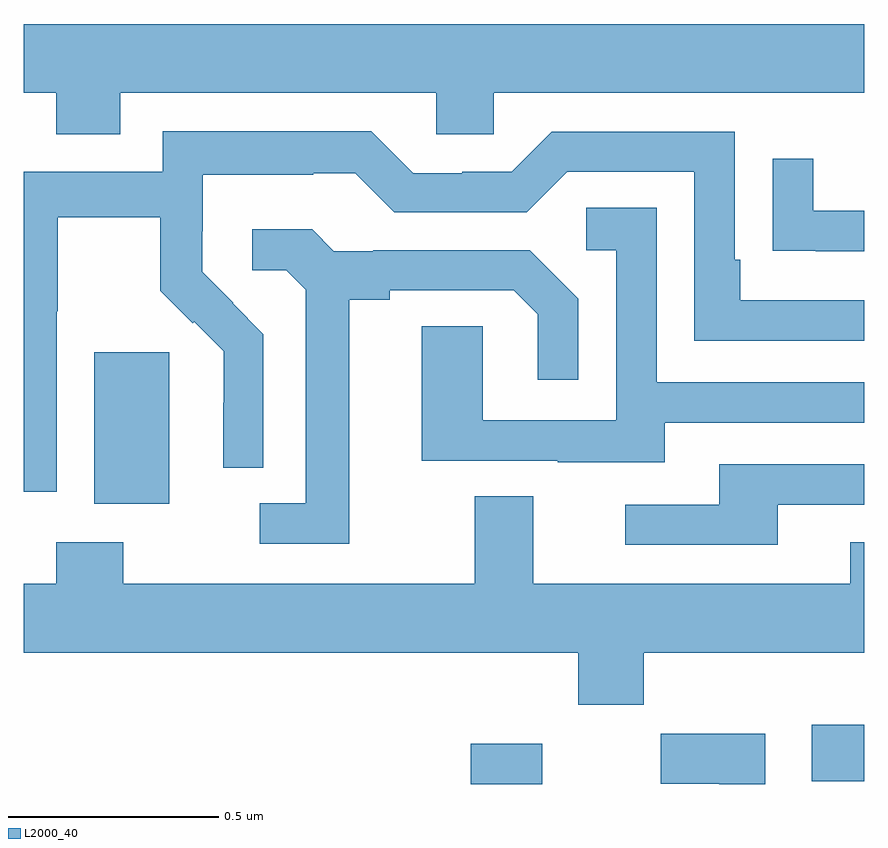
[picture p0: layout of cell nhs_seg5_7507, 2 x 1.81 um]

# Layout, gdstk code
import gdstk
lib = gdstk.Library(unit=1e-6, precision=1e-09)
def R(c, l, rs):  # rectangles x0, y0, x1, y1
    for r in rs: c.add(gdstk.rectangle(r[:2], r[2:], *l))
def P(c, l, *ps):  # polygons
    for p in ps: c.add(gdstk.Polygon(p, *l))
L2000_40 = (2000, 40)

nhs_seg5_7507 = lib.new_cell('nhs_seg5_7507')
R(nhs_seg5_7507, L2000_40, [(211.064,837.799,211.234,837.895), (211.875,837.806,212,837.94), (210.167,838.466,210.346,838.827)])
P(nhs_seg5_7507, L2000_40, [(210.229,839.444),(210.981,839.444),(210.981,839.346),(211.119,839.346),(211.119,839.444),(212,839.444),(212,839.608),(210,839.608),(210,839.444),(210.077,839.444),(210.077,839.345),(210.229,839.345)],
  [(210.078,838.924),(210.081,838.924),(210.081,839.148),(210.325,839.148),(210.325,838.973),(210.402,838.896),(210.405,838.899),(210.476,838.829),(210.476,838.706),(210.474,838.706),(210.474,838.552),(210.57,838.552),(210.57,838.87),(210.497,838.943),(210.498,838.944),(210.424,839.018),(210.424,839.115),(210.426,839.115),(210.426,839.249),(210.689,839.249),(210.689,839.253),(210.789,839.253),(210.882,839.16),(211.197,839.16),(211.293,839.256),(211.596,839.256),(211.596,838.854),(212,838.854),(212,838.95),(211.705,838.95),(211.705,839.047),(211.692,839.047),(211.692,839.352),(211.257,839.352),(211.161,839.256),(211.043,839.256),(211.043,839.253),(210.927,839.253),(210.827,839.353),(210.33,839.353),(210.33,839.256),(210,839.256),(210,838.495),(210.078,838.495)],
  [(212,839.163),(211.879,839.163),(211.879,839.287),(211.783,839.287),(211.783,839.068),(211.885,839.068),(211.885,839.067),(212,839.067)],
  [(211.525,838.659),(212,838.659),(212,838.755),(211.506,838.755),(211.506,839.171),(211.338,839.171),(211.338,839.07),(211.41,839.07),(211.41,838.665),(211.092,838.665),(211.092,838.889),(210.947,838.889),(210.947,838.569),(211.271,838.569),(211.271,838.565),(211.525,838.565)],
  [(210.775,838.952),(210.871,838.952),(210.871,838.974),(211.166,838.974),(211.223,838.917),(211.223,838.761),(211.32,838.761),(211.32,838.954),(211.204,839.07),(210.832,839.07),(210.832,839.067),(210.738,839.067),(210.686,839.119),(210.543,839.119),(210.543,839.022),(210.624,839.022),(210.671,838.975),(210.671,838.467),(210.561,838.467),(210.561,838.371),(210.775,838.371)],
  [(211.795,838.464),(212,838.464),(212,838.56),(211.655,838.56),(211.655,838.464),(211.431,838.464),(211.431,838.368),(211.795,838.368)],
  [(211.475,838.112),(212,838.112),(212,838.375),(211.967,838.375),(211.967,838.276),(211.213,838.276),(211.213,838.484),(211.073,838.484),(211.073,838.276),(210.237,838.276),(210.237,838.375),(210.077,838.375),(210.077,838.276),(210,838.276),(210,838.112),(211.319,838.112),(211.319,837.988),(211.475,837.988)],
  [(211.765,837.919),(211.516,837.919),(211.516,837.8),(211.655,837.8),(211.655,837.799),(211.765,837.799)])

lib.write_gds('nhs_seg5_7507.gds')
